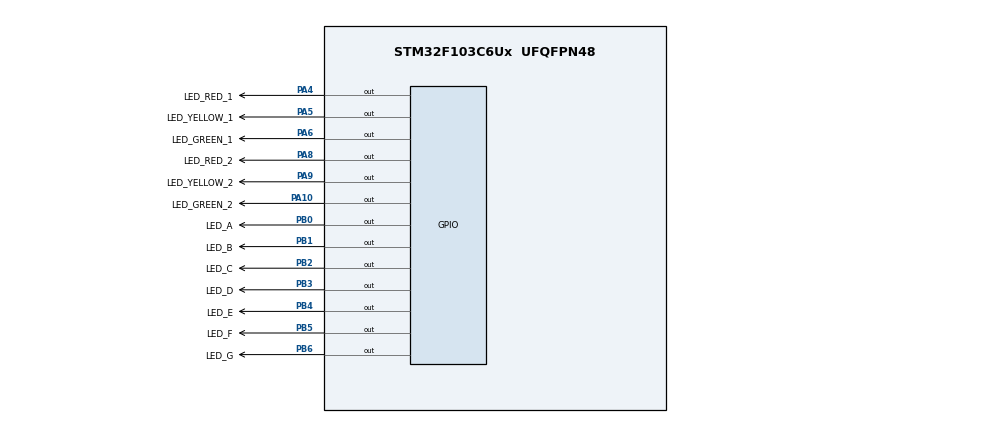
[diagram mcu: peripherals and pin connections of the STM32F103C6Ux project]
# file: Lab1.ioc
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Mcu.Family=STM32F1
Mcu.Name=STM32F103C6Ux
Mcu.Package=UFQFPN48
NVIC.PriorityGroup=NVIC_PRIORITYGROUP_4
PA10.GPIO_Label=LED_GREEN_2
PA10.Signal=GPIO_Output
PA4.GPIO_Label=LED_RED_1
PA4.Signal=GPIO_Output
PA5.GPIO_Label=LED_YELLOW_1
PA5.Signal=GPIO_Output
PA6.GPIO_Label=LED_GREEN_1
PA6.Signal=GPIO_Output
PA8.GPIO_Label=LED_RED_2
PA8.Signal=GPIO_Output
PA9.GPIO_Label=LED_YELLOW_2
PA9.Signal=GPIO_Output
PB0.GPIO_Label=LED_A
PB0.Signal=GPIO_Output
PB1.GPIO_Label=LED_B
PB1.Signal=GPIO_Output
PB2.GPIO_Label=LED_C
PB2.Signal=GPIO_Output
PB3.GPIO_Label=LED_D
PB3.Signal=GPIO_Output
PB4.GPIO_Label=LED_E
PB4.Signal=GPIO_Output
PB5.GPIO_Label=LED_F
PB5.Signal=GPIO_Output
PB6.GPIO_Label=LED_G
PB6.Signal=GPIO_Output
ProjectManager.HeapSize=0x200
ProjectManager.StackSize=0x400
ProjectManager.TargetToolchain=STM32CubeIDE
RCC.APB1Freq_Value=8000000
RCC.APB2Freq_Value=8000000
VP_SYS_VS_ND.Mode=No_Debug
board=custom

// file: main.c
/* USER CODE BEGIN Header */
/**
  ******************************************************************************
  * @file           : main.c
  * @brief          : Main program body
  ******************************************************************************
  * @attention
  *
  * <h2><center>&copy; Copyright (c) 2022 STMicroelectronics.
  * All rights reserved.</center></h2>
  *
  * This software component is licensed by ST under BSD 3-Clause license,
  * the "License"; You may not use this file except in compliance with the
  * License. You may obtain a copy of the License at:
  *                        opensource.org/licenses/BSD-3-Clause
  *
  ******************************************************************************
  */
/* USER CODE END Header */
#include "main.h"

void SystemClock_Config(void);
static void MX_GPIO_Init(void);

/* USER CODE BEGIN 0 */
void display7SEG(int num);
/* USER CODE END 0 */

int main(void)
{

  /* MCU Configuration--------------------------------------------------------*/

  /* Reset of all peripherals, Initializes the Flash interface and the Systick. */
  HAL_Init();

  /* Configure the system clock */
  SystemClock_Config();

  /* Initialize all configured peripherals */
  MX_GPIO_Init();
  /* USER CODE BEGIN 2 */
  int led_status_1 = 0, led_status_2 = 2; // 0: turn GREEN on, 1: turn YELLOW on, 2: turn RED on
  int counter_1 = 0, counter_2 = 0; // counter for each traffic light
  int counter = 0;	// counter for led 7-segment
  const int counter_lst[3] = {300, 200, 500}; // (3: GREEN stays, 2: YELLOW stays, 5: RED stays) * 10ms
  /* USER CODE END 2 */

  /* Infinite loop */
  while (1)
  {

    /* USER CODE BEGIN 3 */
	  if (counter >= 1000)	// reset counter for led7
		  counter = 0;
	  if (counter % 100 == 0)	// display led7
		  display7SEG(counter / 100);
	  counter++;

	  if (counter_1 == 0){ // Check first traffic light
		counter_1 = counter_lst[led_status_1];	// set counter base on current led state
		switch(led_status_1){
			case 0: {  // turn GREEN on
				HAL_GPIO_WritePin(GPIOA, LED_YELLOW_1_Pin | LED_RED_1_Pin, 1);
				HAL_GPIO_WritePin(GPIOA, LED_GREEN_1_Pin, 0);
				led_status_1 = 1;
				break;
			}
			case 1: {	// turn YELLOW on
				HAL_GPIO_WritePin(GPIOA, LED_YELLOW_1_Pin, 0);
				HAL_GPIO_WritePin(GPIOA, LED_RED_1_Pin | LED_GREEN_1_Pin, 1);
				led_status_1 = 2;
				break;
			}
			case 2: {	// turn RED on
				HAL_GPIO_WritePin(GPIOA, LED_GREEN_1_Pin | LED_YELLOW_1_Pin, 1);
				HAL_GPIO_WritePin(GPIOA, LED_RED_1_Pin, 0);
				led_status_1 = 0;
				break;
			}
		}
	}

	if (counter_2 == 0){	// Check second traffic light
		counter_2 = counter_lst[led_status_1];	// set counter base on current led state
		switch(led_status_2){
			case 0: {  // turn GREEN on
				HAL_GPIO_WritePin(GPIOA, LED_YELLOW_2_Pin | LED_RED_2_Pin, 1);
				HAL_GPIO_WritePin(GPIOA, LED_GREEN_2_Pin, 0);
				led_status_2 = 1;
				break;
			}
			case 1: {	// turn YELLOW on
				HAL_GPIO_WritePin(GPIOA, LED_YELLOW_2_Pin, 0);
				HAL_GPIO_WritePin(GPIOA, LED_RED_2_Pin | LED_GREEN_2_Pin, 1);
				led_status_2 = 2;
				break;
			}
			case 2: {	// turn RED on
				HAL_GPIO_WritePin(GPIOA, LED_GREEN_2_Pin | LED_YELLOW_2_Pin, 1);
				HAL_GPIO_WritePin(GPIOA, LED_RED_2_Pin, 0);
				led_status_2 = 0;
				break;
			}
		}
	}
	counter_1--;
	counter_2--;
	HAL_Delay(10);
  }
  /* USER CODE END 3 */
}

void SystemClock_Config(void)
{
  RCC_OscInitTypeDef RCC_OscInitStruct = {0};
  RCC_ClkInitTypeDef RCC_ClkInitStruct = {0};

  /** Initializes the RCC Oscillators according to the specified parameters
  * in the RCC_OscInitTypeDef structure.
  */
  RCC_OscInitStruct.OscillatorType = RCC_OSCILLATORTYPE_HSI;
  RCC_OscInitStruct.HSIState = RCC_HSI_ON;
  RCC_OscInitStruct.HSICalibrationValue = RCC_HSICALIBRATION_DEFAULT;
  RCC_OscInitStruct.PLL.PLLState = RCC_PLL_NONE;
  if (HAL_RCC_OscConfig(&RCC_OscInitStruct) != HAL_OK)
  {
    Error_Handler();
  }
  /** Initializes the CPU, AHB and APB buses clocks
  */
  RCC_ClkInitStruct.ClockType = RCC_CLOCKTYPE_HCLK|RCC_CLOCKTYPE_SYSCLK
                              |RCC_CLOCKTYPE_PCLK1|RCC_CLOCKTYPE_PCLK2;
  RCC_ClkInitStruct.SYSCLKSource = RCC_SYSCLKSOURCE_HSI;
  RCC_ClkInitStruct.AHBCLKDivider = RCC_SYSCLK_DIV1;
  RCC_ClkInitStruct.APB1CLKDivider = RCC_HCLK_DIV1;
  RCC_ClkInitStruct.APB2CLKDivider = RCC_HCLK_DIV1;

  if (HAL_RCC_ClockConfig(&RCC_ClkInitStruct, FLASH_LATENCY_0) != HAL_OK)
  {
    Error_Handler();
  }
}

static void MX_GPIO_Init(void)
{
  GPIO_InitTypeDef GPIO_InitStruct = {0};

  /* GPIO Ports Clock Enable */
  __HAL_RCC_GPIOA_CLK_ENABLE();
  __HAL_RCC_GPIOB_CLK_ENABLE();

  /*Configure GPIO pin Output Level */
  HAL_GPIO_WritePin(GPIOA, LED_RED_1_Pin|LED_YELLOW_1_Pin|LED_GREEN_1_Pin|LED_RED_2_Pin
                          |LED_YELLOW_2_Pin|LED_GREEN_2_Pin, GPIO_PIN_RESET);

  /*Configure GPIO pin Output Level */
  HAL_GPIO_WritePin(GPIOB, LED_A_Pin|LED_B_Pin|LED_C_Pin|LED_D_Pin
                          |LED_E_Pin|LED_F_Pin|LED_G_Pin, GPIO_PIN_RESET);

  /*Configure GPIO pins : LED_RED_1_Pin LED_YELLOW_1_Pin LED_GREEN_1_Pin LED_RED_2_Pin
                           LED_YELLOW_2_Pin LED_GREEN_2_Pin */
  GPIO_InitStruct.Pin = LED_RED_1_Pin|LED_YELLOW_1_Pin|LED_GREEN_1_Pin|LED_RED_2_Pin
                          |LED_YELLOW_2_Pin|LED_GREEN_2_Pin;
  GPIO_InitStruct.Mode = GPIO_MODE_OUTPUT_PP;
  GPIO_InitStruct.Pull = GPIO_NOPULL;
  GPIO_InitStruct.Speed = GPIO_SPEED_FREQ_LOW;
  HAL_GPIO_Init(GPIOA, &GPIO_InitStruct);

  /*Configure GPIO pins : LED_A_Pin LED_B_Pin LED_C_Pin LED_D_Pin
                           LED_E_Pin LED_F_Pin LED_G_Pin */
  GPIO_InitStruct.Pin = LED_A_Pin|LED_B_Pin|LED_C_Pin|LED_D_Pin
                          |LED_E_Pin|LED_F_Pin|LED_G_Pin;
  GPIO_InitStruct.Mode = GPIO_MODE_OUTPUT_PP;
  GPIO_InitStruct.Pull = GPIO_NOPULL;
  GPIO_InitStruct.Speed = GPIO_SPEED_FREQ_LOW;
  HAL_GPIO_Init(GPIOB, &GPIO_InitStruct);

}

/* USER CODE BEGIN 4 */
void display7SEG(int num){
	switch (num){
		case 0: {	// display 0 using leds: a, b, c, d, e, f
			HAL_GPIO_WritePin(GPIOB, LED_A_Pin | LED_B_Pin | LED_C_Pin |
									LED_D_Pin | LED_E_Pin | LED_F_Pin, 0);
			HAL_GPIO_WritePin(GPIOB, LED_G_Pin, 1);
			break;
		}
		case 1: {	// display 1 using leds: b, c
			HAL_GPIO_WritePin(GPIOB, LED_B_Pin | LED_C_Pin, 0);
			HAL_GPIO_WritePin(GPIOB, LED_A_Pin | LED_D_Pin | LED_E_Pin |
									 LED_F_Pin | LED_G_Pin, 1);
			break;
		}
		case 2: {	// display 2 using leds: a, b, d, e, g
			HAL_GPIO_WritePin(GPIOB, LED_A_Pin | LED_B_Pin | LED_D_Pin |
									 LED_E_Pin | LED_G_Pin, 0);
			HAL_GPIO_WritePin(GPIOB, LED_C_Pin | LED_F_Pin, 1);
			break;
		}
		case 3: {	// display 3 using leds: a, b, c, d, g
			HAL_GPIO_WritePin(GPIOB, LED_A_Pin | LED_B_Pin | LED_C_Pin |
									 LED_D_Pin | LED_G_Pin, 0);
			HAL_GPIO_WritePin(GPIOB, LED_E_Pin | LED_F_Pin, 1);
			break;
		}
		case 4:{	// display 4 using leds: b, c, f, g
			HAL_GPIO_WritePin(GPIOB, LED_B_Pin | LED_C_Pin | LED_F_Pin |
									 LED_G_Pin, 0);
			HAL_GPIO_WritePin(GPIOB, LED_A_Pin | LED_D_Pin | LED_E_Pin, 1);
			break;
		}
		case 5: {	// display 5 using leds: a, c, d, f, g
			HAL_GPIO_WritePin(GPIOB, LED_A_Pin | LED_C_Pin | LED_D_Pin |
									 LED_F_Pin | LED_G_Pin, 0);
			HAL_GPIO_WritePin(GPIOB, LED_B_Pin | LED_E_Pin, 1);
			break;
		}
		case 6: {	// display 6 using leds: a, c, d, e, f, g
			HAL_GPIO_WritePin(GPIOB, LED_A_Pin | LED_C_Pin | LED_D_Pin |
									 LED_E_Pin | LED_F_Pin | LED_G_Pin, 0);
			HAL_GPIO_WritePin(GPIOB, LED_B_Pin, 1);
			break;
		}
		case 7: {	// diplay 7 using leds: a, b, c
			HAL_GPIO_WritePin(GPIOB, LED_A_Pin | LED_B_Pin | LED_C_Pin, 0);
			HAL_GPIO_WritePin(GPIOB, LED_D_Pin | LED_E_Pin | LED_F_Pin |
												LED_G_Pin, 1);
			break;
		}
		case 8: {	// display 8 using leds: a, b, c, d, e, f, g
			HAL_GPIO_WritePin(GPIOB, LED_A_Pin | LED_B_Pin | LED_C_Pin |
									LED_D_Pin | LED_E_Pin | LED_F_Pin | LED_G_Pin, 0);
			break;
		}
		case 9: {	// display 9 using leds: a, b, c, d, f, g
			HAL_GPIO_WritePin(GPIOB, LED_A_Pin | LED_B_Pin | LED_C_Pin |
									 LED_D_Pin | LED_F_Pin | LED_G_Pin, 0);
			HAL_GPIO_WritePin(GPIOB, LED_E_Pin, 1);
			break;
		}
	}
}
/* USER CODE END 4 */

void Error_Handler(void)
{
  __disable_irq();
  while (1)
  {
  }
}

/************************ (C) COPYRIGHT STMicroelectronics *****END OF FILE****/
